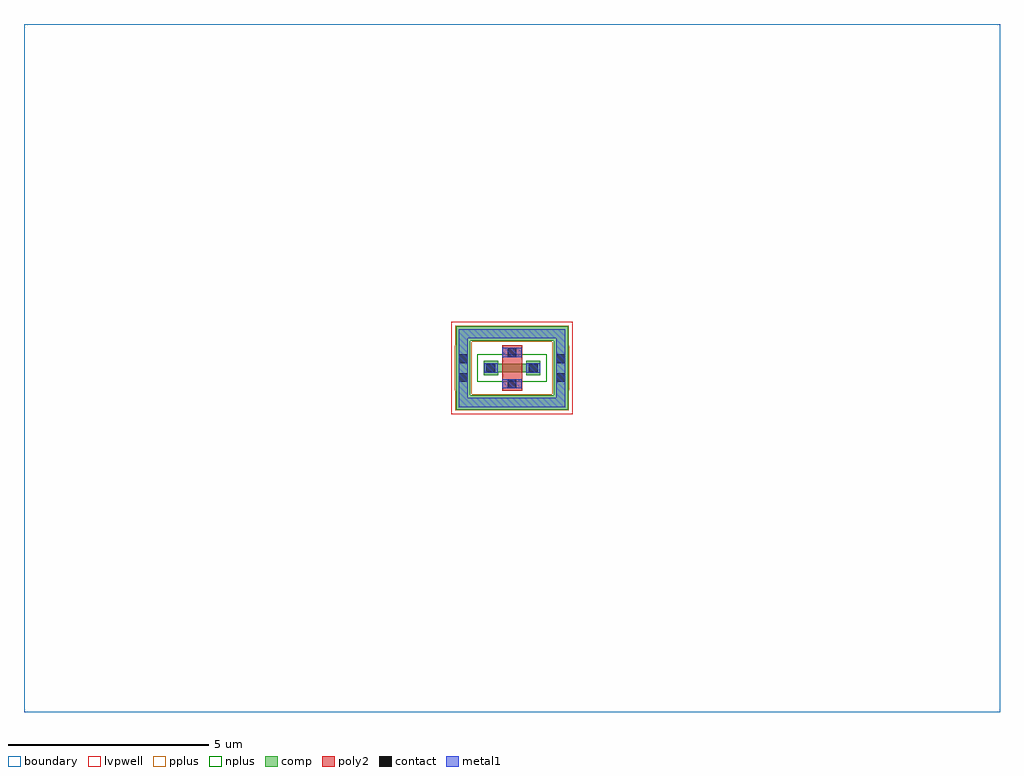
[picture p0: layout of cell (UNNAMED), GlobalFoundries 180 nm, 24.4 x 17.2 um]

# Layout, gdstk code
import gdstk
lib = gdstk.Library(unit=1e-6, precision=1e-09)
def R(c, l, rs):  # rectangles x0, y0, x1, y1
    for r in rs: c.add(gdstk.rectangle(r[:2], r[2:], *l))
boundary = (0, 0)
comp = (22, 0)
poly2 = (30, 0)
pplus = (31, 0)
nplus = (32, 0)
contact = (33, 0)
metal1 = (34, 0)
lvpwell = (204, 0)

c__unnamed_ = lib.new_cell('(UNNAMED)')
R(c__unnamed_, boundary, [(-12.2,-8.6,12.2,8.6)])
R(c__unnamed_, comp, [(-1.4,-1.04,1.4,-0.68), (-1.4,-0.68,-1.04,0.68), (1.04,-0.68,1.4,0.68), (-0.71,-0.18,-0.35,-0.11), (0.35,-0.18,0.71,-0.11), (-0.71,-0.11,0.71,0.11), (-0.71,0.11,-0.35,0.18), (0.35,0.11,0.71,0.18), (-1.4,0.68,1.4,1.04)])
R(c__unnamed_, poly2, [(-0.25,-0.57,0.25,0.57)])
R(c__unnamed_, pplus, [(-1.42,-1.06,1.42,-0.66), (-1.42,-0.66,-1.01,-0.555), (1.01,-0.66,1.42,-0.555), (-1.43,-0.555,-1.01,0.555), (1.01,-0.555,1.43,0.555), (-1.42,0.555,-1.01,0.66), (1.01,0.555,1.42,0.66), (-1.42,0.66,1.42,1.06)])
R(c__unnamed_, nplus, [(-0.87,-0.34,0.87,0.34)])
R(c__unnamed_, contact, [(-0.11,-0.5,0.11,-0.28), (-1.33,-0.345,-1.11,-0.125), (1.11,-0.345,1.33,-0.125), (-0.64,-0.11,-0.42,0.11), (0.42,-0.11,0.64,0.11), (-1.33,0.125,-1.11,0.345), (1.11,0.125,1.33,0.345), (-0.11,0.28,0.11,0.5)])
R(c__unnamed_, metal1, [(-1.335,-0.975,1.335,-0.745), (-1.335,-0.745,-1.105,0.745), (1.105,-0.745,1.335,0.745), (-0.24,-0.505,0.24,-0.275), (-0.7,-0.115,-0.36,0.115), (0.36,-0.115,0.7,0.115), (-0.24,0.275,0.24,0.505), (-1.335,0.745,1.335,0.975)])
R(c__unnamed_, lvpwell, [(-1.52,-1.16,1.52,1.16)])

lib.write_gds('_UNNAMED_.gds')
